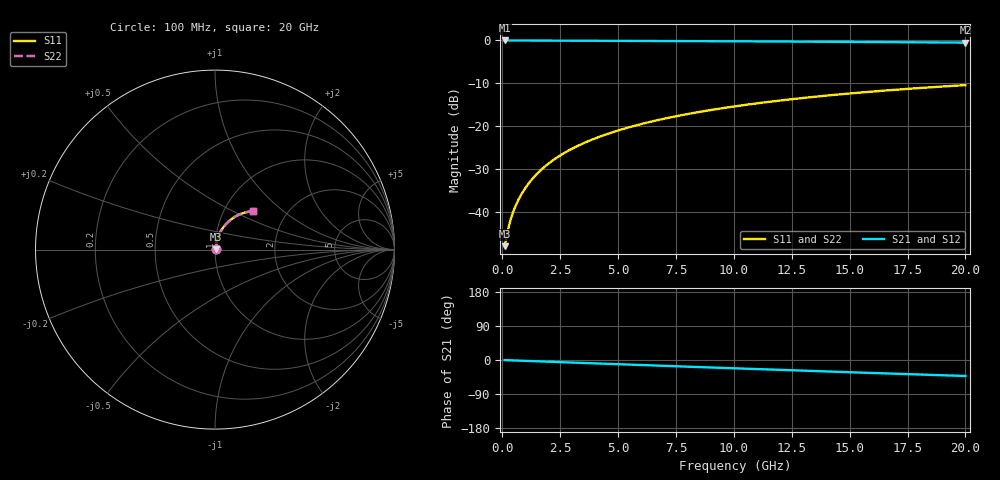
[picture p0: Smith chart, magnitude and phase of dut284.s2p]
! Touchstone file exported from HFSS 2026.1.0
!  File:  C:/ffzhzh/LocalFiles/Ansys_Project_Files/temp_train_TMRDL_284_1782985413_41620.aedt
!  Generated:  05:44:44 PM Jul  2, 2026
!  Design:  TMRDL
!  Project:  temp_train_TMRDL_284_1782985413_41620
! Variables:
!  h_bsmrdl = 2um
!  h_ox = 20um
!  h_rdl = 5um
!  h_sub = 80um
!  h_tmrdl = 3.49um
!  h_tsv = 80um
!  h_via = 3um
!  l_bsmrdl = 300um
!  l_sub = 1071.57um
!  l_tmrdl = 671.57um
!  m_sub = 200um
!  pitch = 37.71um
!  r_tsv = 6um
!  s_tmrdl = 10um
!  w_bsmrdl = 18um
!  w_sub = 500um
!  w_tmrdl = 21.64um
!  x_tsv_center1 = 682.39um
!  x_tsv_center2 = 1000.39um
!  x_tsv_center3 = 1693.6um
!  x_tsv_center4 = 2011.6um
!  x_tsv_center5 = 2704.81um
!  x_tsv_center6 = 3022.81um
# GHz S MA R 50.000000
! Terminal data exported
! Port[1] = TM_RDL1_1_T1
! Port[2] = TM_RDL1_1_T2
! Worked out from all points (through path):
!   200 points, 100 MHz to 20 GHz, reference 50 ohm
!   highest |S21| = -0.03 dB at 100 MHz (marker M1); lowest = -0.5 dB at 20 GHz (marker M2)
!   group delay of S21, straight-line fit = 5.86 ps
!   lowest |S11| = -48.0 dB at 100 MHz (marker M3), VSWR 1.01, Z = 50.3 + j0.212 ohm
!   |S11| at or under -10 dB: start of sweep to end of sweep
!   |S22| runs from -48.0 to -10.4 dB; largest |S21 - S12| = 3.5e-15
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0.1  0.003976 32.0  0.9966 -0.2  0.9966 -0.2  0.003976 32.0
! Gamma 0 0 0 0
! Port Impedance 50 0 50 0
0.2  0.005461 48.9  0.9964 -0.5  0.9964 -0.5  0.005461 48.9
0.3  0.007131 57.4  0.9962 -0.7  0.9962 -0.7  0.00713 57.4
0.4  0.008818 62.4  0.996 -0.9  0.996 -0.9  0.008818 62.4
0.5  0.0105 65.8  0.9959 -1.2  0.9959 -1.2  0.0105 65.8
0.6  0.01219 68.4  0.9957 -1.4  0.9957 -1.4  0.01219 68.4
0.8  0.0156 71.9  0.9955 -1.8  0.9955 -1.8  0.0156 71.9
1.1  0.02078 74.9  0.9953 -2.5  0.9953 -2.5  0.02078 74.9
1.3  0.02428 76.1  0.9951 -2.9  0.9951 -2.9  0.02428 76.1
1.6  0.02955 77.2  0.9949 -3.6  0.9949 -3.6  0.02955 77.2
2.1  0.03838 77.9  0.9944 -4.7  0.9944 -4.7  0.03838 77.9
2.7  0.04897 77.8  0.9936 -6.1  0.9936 -6.1  0.04897 77.8
3.5  0.063 77.0  0.9924 -7.8  0.9924 -7.8  0.063 77.0
4.2  0.07515 76.0  0.9911 -9.4  0.9911 -9.4  0.07514 76.0
5  0.08884 74.6  0.9894 -11.1  0.9894 -11.1  0.08884 74.6
5.9  0.104 72.9  0.9874 -13.1  0.9874 -13.1  0.104 72.9
6.8  0.1188 71.2  0.9851 -15.0  0.9851 -15.0  0.1188 71.2
8.3  0.1429 68.2  0.9809 -18.3  0.9809 -18.3  0.1429 68.2
10.1  0.1707 64.6  0.9755 -22.1  0.9755 -22.1  0.1707 64.6
13.4  0.2185 58.1  0.9645 -29.0  0.9645 -29.0  0.2185 58.1
16.7  0.2618 51.6  0.9527 -35.7  0.9527 -35.7  0.2618 51.7
20  0.3004 45.3  0.9407 -42.2  0.9407 -42.2  0.3004 45.4
